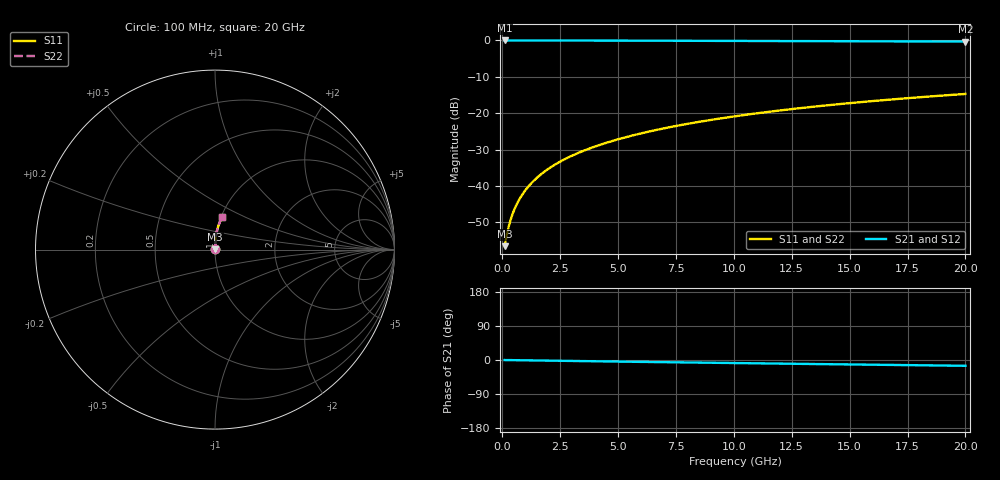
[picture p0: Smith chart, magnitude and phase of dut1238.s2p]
! Touchstone file exported from HFSS 2024.1.0
!  File:  C:/UserFiles/LocalFiles/RDL_TSV_Batchsim/temp_RDL_top_1238_1780240905.aedt
!  Generated:  11:24:19 PM May 31, 2026
!  Design:  RDL_top
!  Project:  temp_RDL_top_1238_1780240905
!  Setup:  Setup1
!  Solution:  Sweep
! Variables:
!  dtsv = 10.80580581um
!  hbump = 3um
!  htsv = 62.84um
!  ldown = 100um
!  lrdl = 175.44um
!  p = 40
!  p1 = 47.58um
!  rhole = 1um
!  t = 450um
!  tdown = 3.915915916um
!  trdl = 3.56um
!  wdown = 15.38538539um
!  wrdl = 17.65um
# GHz S MA R 50.000000
! Terminal data exported
! Port[1] = Box2_T1
! Port[2] = Box2_T2
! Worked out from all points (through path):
!   200 points, 100 MHz to 20 GHz, reference 50 ohm
!   highest |S21| = -0.01 dB at 100 MHz (marker M1); lowest = -0.3 dB at 20 GHz (marker M2)
!   group delay of S21, straight-line fit = 2.11 ps
!   lowest |S11| = -56.5 dB at 100 MHz (marker M3), VSWR 1.00, Z = 50.1 + j0.0917 ohm
!   |S11| at or under -10 dB: start of sweep to end of sweep
!   |S22| runs from -56.5 to -14.7 dB; largest |S21 - S12| = 2.5e-15
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0.1  0.001495 37.7  0.9988 -0.1  0.9988 -0.1  0.001495 37.7
! Gamma 0 0 0 0
! Port Impedance 50 0 50 0
0.2  0.002184 56.2  0.9988 -0.2  0.9988 -0.2  0.002184 56.2
0.3  0.002972 65.0  0.9987 -0.3  0.9987 -0.3  0.002972 65.0
0.4  0.003786 70.0  0.9987 -0.3  0.9987 -0.3  0.003786 70.0
0.5  0.004608 73.3  0.9986 -0.4  0.9986 -0.4  0.004608 73.3
0.6  0.005437 75.7  0.9986 -0.5  0.9986 -0.5  0.005437 75.7
0.8  0.007106 78.8  0.9985 -0.7  0.9985 -0.7  0.007106 78.8
1.1  0.009635 81.6  0.9983 -0.9  0.9983 -0.9  0.009635 81.6
1.5  0.01304 83.7  0.9981 -1.3  0.9981 -1.3  0.01304 83.7
1.8  0.01561 84.6  0.9979 -1.5  0.9979 -1.5  0.01561 84.6
2.1  0.0182 85.3  0.9976 -1.8  0.9976 -1.8  0.0182 85.3
2.7  0.02341 86.2  0.9971 -2.3  0.9971 -2.3  0.02341 86.2
3.5  0.03044 86.8  0.9961 -3.0  0.9961 -3.0  0.03044 86.8
4.2  0.03666 87.0  0.9951 -3.5  0.9951 -3.5  0.03666 87.1
5  0.04386 87.1  0.9939 -4.2  0.9939 -4.2  0.04386 87.1
5.9  0.05206 87.0  0.9924 -4.9  0.9924 -4.9  0.05206 87.0
6.8  0.06035 86.8  0.9907 -5.6  0.9907 -5.6  0.06035 86.8
8.3  0.07435 86.1  0.9879 -6.8  0.9879 -6.8  0.07435 86.1
10.1  0.09133 85.1  0.9843 -8.1  0.9843 -8.1  0.09134 85.1
13.4  0.1226 82.8  0.9777 -10.6  0.9777 -10.6  0.1226 82.8
16.7  0.1537 80.3  0.9708 -13.0  0.9708 -13.0  0.1537 80.3
20  0.1841 77.7  0.9636 -15.3  0.9636 -15.3  0.1841 77.7
